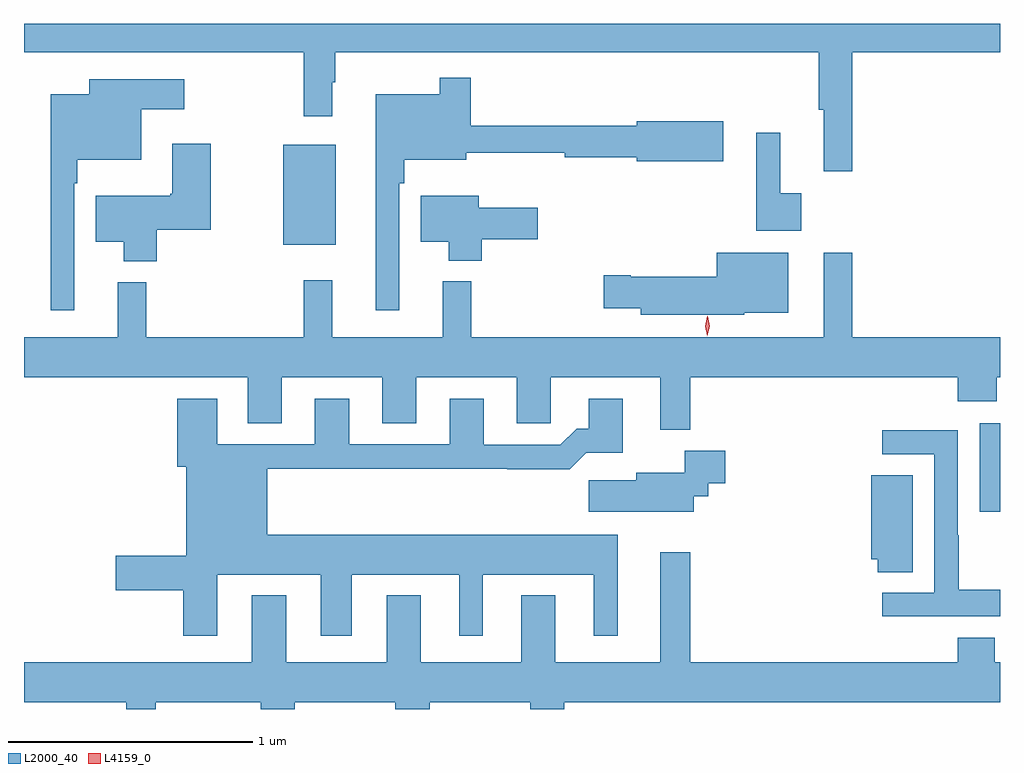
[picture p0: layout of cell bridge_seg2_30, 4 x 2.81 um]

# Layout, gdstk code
import gdstk
lib = gdstk.Library(unit=1e-6, precision=1e-09)
def R(c, l, rs):  # rectangles x0, y0, x1, y1
    for r in rs: c.add(gdstk.rectangle(r[:2], r[2:], *l))
def P(c, l, *ps):  # polygons
    for p in ps: c.add(gdstk.Polygon(p, *l))
L2000_40 = (2000, 40)
L4159_0 = (4159, 0)

bridge_seg2_30 = lib.new_cell('bridge_seg2_30')
R(bridge_seg2_30, L2000_40, [(823.109,664.401,823.193,664.762), (820.256,665.495,820.471,665.905)])
P(bridge_seg2_30, L2000_40, [(822.587,666.284),(823.193,666.284),(823.193,666.4),(819.193,666.4),(819.193,666.284),(820.339,666.284),(820.339,666.021),(820.456,666.021),(820.456,666.161),(820.468,666.161),(820.468,666.284),(822.451,666.284),(822.451,666.048),(822.47,666.048),(822.47,665.796),(822.587,665.796)],
  [(820.731,665.747),(820.751,665.747),(820.751,665.843),(821.005,665.843),(821.005,665.872),(821.409,665.872),(821.409,665.854),(821.705,665.854),(821.705,665.836),(822.058,665.836),(822.058,666.001),(821.705,666.001),(821.705,665.983),(821.024,665.983),(821.024,666.178),(820.896,666.178),(820.896,666.112),(820.634,666.112),(820.634,665.226),(820.731,665.226)],
  [(819.399,665.747),(819.412,665.747),(819.412,665.843),(819.673,665.843),(819.673,666.05),(819.85,666.05),(819.85,666.172),(819.461,666.172),(819.461,666.112),(819.302,666.112),(819.302,665.226),(819.399,665.226)],
  [(822.379,665.705),(822.293,665.705),(822.293,665.953),(822.194,665.953),(822.194,665.552),(822.379,665.552)],
  [(819.737,665.555),(819.958,665.555),(819.958,665.908),(819.8,665.908),(819.8,665.703),(819.793,665.703),(819.793,665.695),(819.488,665.695),(819.488,665.507),(819.602,665.507),(819.602,665.426),(819.737,665.426)],
  [(821.069,665.518),(821.299,665.518),(821.299,665.647),(821.056,665.647),(821.056,665.695),(820.82,665.695),(820.82,665.507),(820.934,665.507),(820.934,665.429),(821.069,665.429)],
  [(822.144,665.216),(822.325,665.216),(822.325,665.461),(822.032,665.461),(822.032,665.364),(821.68,665.364),(821.68,665.369),(821.568,665.369),(821.568,665.234),(821.721,665.234),(821.721,665.207),(822.144,665.207)],
  [(820.457,665.35),(820.339,665.35),(820.339,665.116),(819.695,665.116),(819.695,665.341),(819.578,665.341),(819.578,665.116),(819.193,665.116),(819.193,664.952),(820.109,664.952),(820.109,664.762),(820.249,664.762),(820.249,664.952),(820.661,664.952),(820.661,664.762),(820.801,664.762),(820.801,664.952),(821.213,664.952),(821.213,664.762),(821.352,664.762),(821.352,664.952),(821.801,664.952),(821.801,664.736),(821.923,664.736),(821.923,664.952),(823.019,664.952),(823.019,664.853),(823.179,664.853),(823.179,664.952),(823.193,664.952),(823.193,665.116),(822.587,665.116),(822.587,665.461),(822.47,665.461),(822.47,665.116),(821.027,665.116),(821.027,665.344),(820.91,665.344),(820.91,665.116),(820.457,665.116)],
  [(819.985,664.142),(820.409,664.142),(820.409,663.891),(820.537,663.891),(820.537,664.142),(820.976,664.142),(820.976,663.891),(821.074,663.891),(821.074,664.142),(821.528,664.142),(821.528,663.891),(821.626,663.891),(821.626,664.306),(820.189,664.306),(820.189,664.576),(821.173,664.576),(821.173,664.574),(821.429,664.574),(821.498,664.643),(821.647,664.643),(821.647,664.864),(821.507,664.864),(821.507,664.741),(821.458,664.741),(821.391,664.674),(821.077,664.674),(821.077,664.864),(820.937,664.864),(820.937,664.677),(820.525,664.677),(820.525,664.864),(820.385,664.864),(820.385,664.677),(819.985,664.677),(819.985,664.864),(819.821,664.864),(819.821,664.584),(819.857,664.584),(819.857,664.22),(819.57,664.22),(819.57,664.078),(819.845,664.078),(819.845,663.891),(819.985,663.891)],
  [(823.193,664.081),(823.023,664.081),(823.023,664.304),(823.02,664.304),(823.02,664.734),(822.711,664.734),(822.711,664.635),(822.924,664.635),(822.924,664.068),(822.711,664.068),(822.711,663.972),(823.193,663.972)],
  [(821.938,664.464),(821.997,664.464),(821.997,664.517),(822.067,664.517),(822.067,664.651),(821.901,664.651),(821.901,664.56),(821.702,664.56),(821.702,664.529),(821.508,664.529),(821.508,664.4),(821.938,664.4)],
  [(822.835,664.55),(822.665,664.55),(822.665,664.206),(822.692,664.206),(822.692,664.153),(822.835,664.153)],
  [(823.193,663.784),(823.171,663.784),(823.171,663.883),(823.019,663.883),(823.019,663.784),(821.923,663.784),(821.923,664.234),(821.801,664.234),(821.801,663.784),(821.371,663.784),(821.371,664.057),(821.231,664.057),(821.231,663.784),(820.819,663.784),(820.819,664.057),(820.679,664.057),(820.679,663.784),(820.267,663.784),(820.267,664.057),(820.127,664.057),(820.127,663.784),(819.193,663.784),(819.193,663.62),(819.612,663.62),(819.612,663.591),(819.733,663.591),(819.733,663.62),(820.163,663.62),(820.163,663.591),(820.303,663.591),(820.303,663.62),(820.715,663.62),(820.715,663.591),(820.855,663.591),(820.855,663.62),(821.267,663.62),(821.267,663.591),(821.407,663.591),(821.407,663.62),(823.193,663.62)])
P(bridge_seg2_30, L4159_0, [(821.993,665.121),(821.984,665.161),(821.994,665.201),(821.994,665.201),(821.995,665.201),(822.004,665.161),(821.994,665.121),(821.994,665.121)])

lib.write_gds('bridge_seg2_30.gds')
